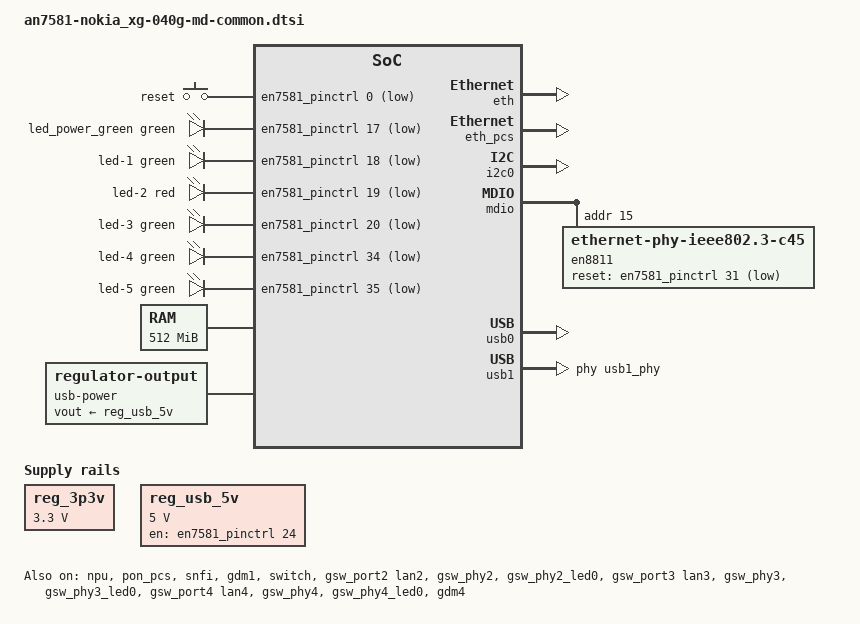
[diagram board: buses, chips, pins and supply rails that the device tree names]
// SPDX-License-Identifier: GPL-2.0-only OR MIT

/dts-v1/;
#include <dt-bindings/leds/common.h>
#include <dt-bindings/gpio/gpio.h>
#include <dt-bindings/input/input.h>
#include "an7581.dtsi"

/ {
	aliases {
		label-mac-device = &gdm1;

		led-boot = &led_power_green;
		led-failsafe = &led_power_green;
		led-running = &led_power_green;
		led-upgrade = &led_power_green;

		serial0 = &uart1;
	};

	chosen {
		bootargs = "console=ttyS0,115200 earlycon";
		stdout-path = "serial0:115200n8";
		linux,usable-memory-range =
			<0x0 0x80200000 0x0 0x1fe00000>;
	};

	gpio-keys {
		compatible = "gpio-keys";

		button-0 {
			label = "reset";
			linux,code = <KEY_RESTART>;
			gpios = <&en7581_pinctrl 0 GPIO_ACTIVE_LOW>;
			debounce-interval = <60>;
		};
	};

	leds {
		compatible = "gpio-leds";

		led_power_green: led-0 {
			color = <LED_COLOR_ID_GREEN>;
			function = LED_FUNCTION_POWER;
			gpios = <&en7581_pinctrl 17 GPIO_ACTIVE_LOW>;
			panic-indicator;
		};

		led-1 {
			color = <LED_COLOR_ID_GREEN>;
			function = LED_FUNCTION_WAN;
			gpios = <&en7581_pinctrl 18 GPIO_ACTIVE_LOW>;
		};

		led-2 {
			color = <LED_COLOR_ID_RED>;
			function = LED_FUNCTION_WAN;
			gpios = <&en7581_pinctrl 19 GPIO_ACTIVE_LOW>;
		};

		led-3 {
			color = <LED_COLOR_ID_GREEN>;
			function = LED_FUNCTION_WAN_ONLINE;
			gpios = <&en7581_pinctrl 20 GPIO_ACTIVE_LOW>;
		};

		led-4 {
			color = <LED_COLOR_ID_GREEN>;
			function = LED_FUNCTION_USB;
			function-enumerator = <2>;
			gpios = <&en7581_pinctrl 34 GPIO_ACTIVE_LOW>;
			linux,default-trigger = "usbport";
			trigger-sources = <&usb_port2>;
		};

		led-5 {
			color = <LED_COLOR_ID_GREEN>;
			function = LED_FUNCTION_USB;
			function-enumerator = <1>;
			gpios = <&en7581_pinctrl 35 GPIO_ACTIVE_LOW>;
			linux,default-trigger = "usbport";
			trigger-sources = <&usb_port1>;
		};
	};

	memory@80000000 {
		device_type = "memory";
		reg = <0x0 0x80000000 0x0 0x20000000>;
	};

	reg_3p3v: regulator-3p3v {
		compatible = "regulator-fixed";
		regulator-always-on;
		regulator-boot-on;
		regulator-max-microvolt = <3300000>;
		regulator-min-microvolt = <3300000>;
		regulator-name = "fixed-3.3V";
	};

	reg_usb_5v: regulator-usb-5v {
		compatible = "regulator-fixed";
		enable-active-high;
		gpio = <&en7581_pinctrl 24 GPIO_ACTIVE_HIGH>;
		regulator-boot-on;
		regulator-max-microvolt = <5000000>;
		regulator-min-microvolt = <5000000>;
		regulator-name = "usb-5v";
	};

	/*
	 * Controls both USB ports at once
	 */
	usb-power {
		compatible = "regulator-output";
		vout-supply = <&reg_usb_5v>;
	};
};

&en7581_pinctrl {
	gpio-ranges = <&en7581_pinctrl 0 13 47>;

	mdio_pins: mdio-pins {
		mux {
			function = "mdio";
			groups = "mdio";
		};

		conf {
			pins = "gpio2";
			output-high;
		};
	};

	gswp2_led0_pins: gswp2-led0-pins {
		mux {
			function = "phy2_led0";
			pins = "gpio44";
		};
	};

	gswp3_led0_pins: gswp3-led0-pins {
		mux {
			function = "phy3_led0";
			pins = "gpio45";
		};
	};

	gswp4_led0_pins: gswp4-led0-pins {
		mux {
			function = "phy4_led0";
			pins = "gpio46";
		};
	};
};

&eth {
	status = "okay";
};

&eth_pcs {
	status = "okay";
};

&i2c0 {
	status = "okay";
};

&mdio {
	/* Airoha EN8811 2.5Gbps phy */
	en8811: ethernet-phy@f {
		compatible = "ethernet-phy-ieee802.3-c45";
		reg = <0xf>;

		reset-gpios = <&en7581_pinctrl 31 GPIO_ACTIVE_LOW>;
		reset-assert-us = <10000>;
		reset-deassert-us = <20000>;

		leds {
			#address-cells = <1>;
			#size-cells = <0>;

			led-0 {
				reg = <0>;
				color = <LED_COLOR_ID_GREEN>;
				function = LED_FUNCTION_LAN;
				function-enumerator = <1>;
				default-state = "keep";
			};
		};
	};
};

&npu {
	status = "okay";
};

&pon_pcs {
	status = "okay";
};

&snfi {
	status = "okay";
};

/*
 * SkyHigh ML02G300WHI00
 */
&spi_nand {
	/*
	 *  ECC must be aligned with bootloader to prevent read errors.
	 *  Stock fw also uses NAND_ECC_NONE.
	 */
	nand-ecc-mode = "none";
	nand-ecc-step-size = <2048>;
	nand-ecc-strength = <0>;

	partitions: partitions {
		compatible = "fixed-partitions";
		#address-cells = <1>;
		#size-cells = <1>;
	};
};

&gdm1 {
	status = "okay";

	nvmem-cell-names = "mac-address";
	nvmem-cells = <&macaddr_factory_3e (0)>;
};

&switch {
	status = "okay";

	pinctrl-names = "default";
	pinctrl-0 = <&mdio_pins>;
};

&gsw_port2 {
	status = "okay";

	label = "lan2";
};

&gsw_phy2 {
	status = "okay";

	interrupts = <2>;

	pinctrl-names = "gbe-led";
	pinctrl-0 = <&gswp2_led0_pins>;
};

&gsw_phy2_led0 {
	status = "okay";

	color = <LED_COLOR_ID_GREEN>;
	function = LED_FUNCTION_LAN;
	function-enumerator = <2>;
	active-low;
};

&gsw_port3 {
	status = "okay";

	label = "lan3";
};

&gsw_phy3 {
	status = "okay";

	interrupts = <3>;

	pinctrl-names = "gbe-led";
	pinctrl-0 = <&gswp3_led0_pins>;
};

&gsw_phy3_led0 {
	status = "okay";

	color = <LED_COLOR_ID_GREEN>;
	function = LED_FUNCTION_LAN;
	function-enumerator = <3>;
	active-low;
};

&gsw_port4 {
	status = "okay";

	label = "lan4";
};

&gsw_phy4 {
	status = "okay";

	interrupts = <4>;

	pinctrl-names = "gbe-led";
	pinctrl-0 = <&gswp4_led0_pins>;
};

&gsw_phy4_led0 {
	status = "okay";

	color = <LED_COLOR_ID_GREEN>;
	function = LED_FUNCTION_LAN;
	function-enumerator = <4>;
	active-low;
};

&gdm4 {
	status = "okay";

	openwrt,netdev-name = "lan1";

	phy-handle = <&en8811>;
	phy-mode = "2500base-x";

	nvmem-cell-names = "mac-address";
	nvmem-cells = <&macaddr_factory_3e (0)>;
};

&usb0 {
	status = "okay";

	vusb33-supply = <&reg_3p3v>;

	#address-cells = <1>;
	#size-cells = <0>;

	usb_port1: port@1 {
		reg = <1>;
		#trigger-source-cells = <0>;
	};
};

&usb1 {
	status = "okay";

	mediatek,u3p-dis-msk = <0x1>;
	phys = <&usb1_phy PHY_TYPE_USB2>;
	vusb33-supply = <&reg_3p3v>;

	#address-cells = <1>;
	#size-cells = <0>;

	usb_port2: port@1 {
		reg = <1>;
		#trigger-source-cells = <0>;
	};
};
